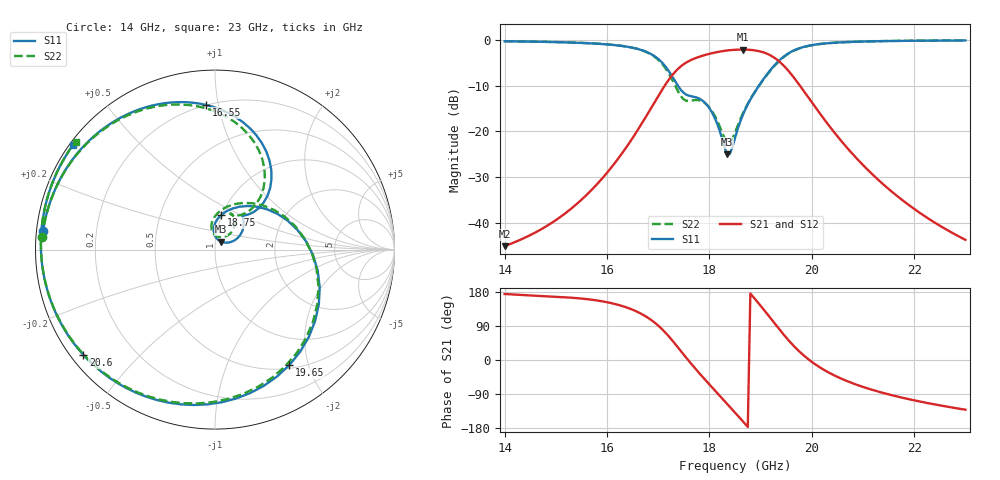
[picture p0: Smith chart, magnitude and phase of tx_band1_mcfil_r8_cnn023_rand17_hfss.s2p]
! Touchstone file exported from HFSS 3D Layout Design 2026.1.0
!  File:  D:/Work/SIM/ADS_AUTO_SIM/projects/RFSOC_RF/TX_Fillter.aedt
!  Generated:  11:30:50 PM Aug 30, 2026
!  Design:  TX_BAND1_MCFIL_R8_CNN023
!  Project:  TX_Fillter
# GHz S MA R 50.000000
! Terminal data exported
! Port[1] = Port1
! Port[2] = Port2
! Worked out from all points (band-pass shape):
!   181 points, 14 GHz to 23 GHz, reference 50 ohm
!   highest |S21| = -2.14 dB at 18.65 GHz (marker M1); lowest = -45.1 dB at 14 GHz (marker M2)
!   |S21| within 3 dB of the highest: 17.53 GHz to 19.4 GHz (1.878 GHz wide, 10.2 % of centre)
!   lowest |S11| = -25.0 dB at 18.35 GHz (marker M3), VSWR 1.12, Z = 53.4 + j4.72 ohm
!   |S11| at or under -10 dB: 17.38 GHz to 18.97 GHz (1.586 GHz wide, 8.73 % of centre)
!   |S22| runs from -22.5 to -0.1 dB; largest |S21 - S12| = 3.4e-14
!   S11 on the Smith chart (normalised r, x): 14 GHz: 0.02, +0.05; 16.55 GHz: 0.20, +0.92; 18.75 GHz: 0.99, +0.40; 19.65 GHz: 0.55, -1.70; 20.6 GHz: 0.04, -0.35; 23 GHz: 0.01, +0.33
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14  0.9639 174.0  0.005563 174.2  0.005563 174.2  0.9651 175.8
15.5  0.924 136.8  0.01786 162.1  0.01786 162.1  0.9259 139.9
16.05  0.8856 117.5  0.03811 151.1  0.03811 151.1  0.8872 121.1
16.55  0.8072 93.5  0.09334 129.8  0.09334 129.8  0.8061 97.4
17  0.6174 62.5  0.2425 90.8  0.2425 90.8  0.6046 66.2
17.35  0.338 43.4  0.4588 39.3  0.4588 39.3  0.3003 48.1
17.55  0.2514 49.4  0.5652 5.5  0.5652 5.5  0.2157 62.2
17.7  0.2382 50.2  0.6217 -18.8  0.6217 -18.8  0.2189 67.0
18.05  0.1614 29.9  0.7134 -71.9  0.7134 -71.9  0.1665 49.9
18.35  0.056 51.9  0.7642 -116.2  0.7642 -116.2  0.07531 67.6
18.5  0.08463 92.4  0.7777 -138.6  0.7777 -138.6  0.09678 97.0
18.65  0.1495 89.4  0.782 -161.3  0.782 -161.3  0.1554 96.1
18.75  0.1973 79.5  0.7791 -176.7  0.7791 -176.7  0.2007 86.7
18.95  0.305 52.8  0.7547 151.4  0.7547 151.4  0.3037 59.0
19.2  0.473 13.3  0.6719 109.3  0.6719 109.3  0.4663 16.1
19.45  0.6532 -27.6  0.5221 67.2  0.5221 67.2  0.6454 -28.0
19.65  0.7654 -57.2  0.3866 36.8  0.3866 36.8  0.7596 -59.2
20  0.8735 -97.6  0.2077 -5.0  0.2077 -5.0  0.8718 -100.8
20.3  0.9158 -122.5  0.1225 -30.8  0.1225 -30.8  0.916 -125.8
20.6  0.939 -141.3  0.07555 -50.6  0.07555 -50.6  0.94 -144.5
21.5  0.9691 -179.0  0.02345 -90.8  0.02345 -90.8  0.9702 178.7
23  0.9824 143.5  0.006521 -131.1  0.006521 -131.1  0.9829 142.2
